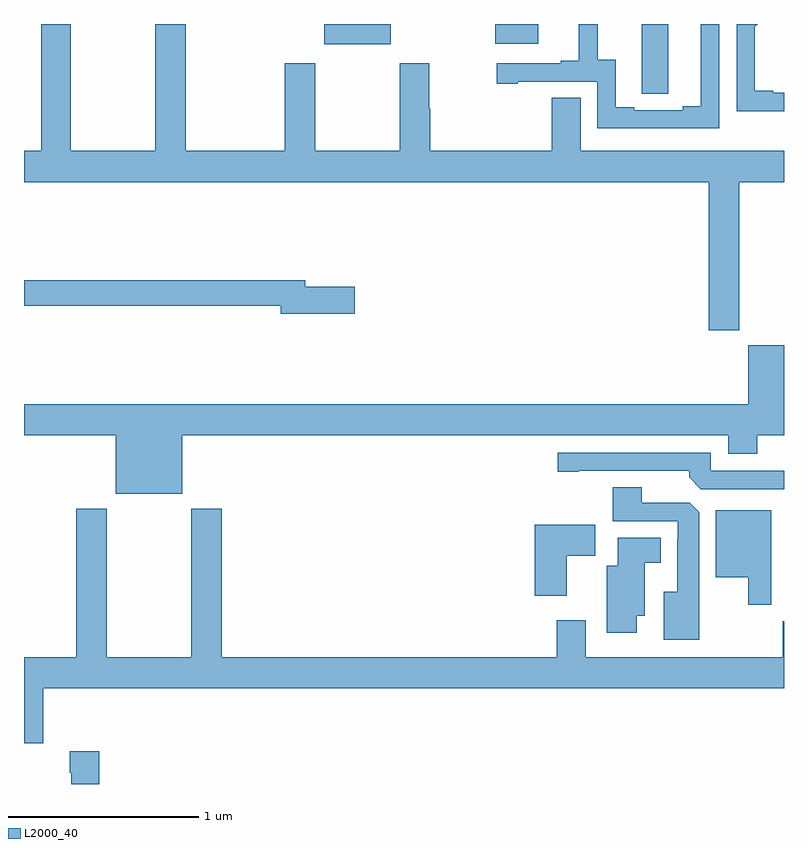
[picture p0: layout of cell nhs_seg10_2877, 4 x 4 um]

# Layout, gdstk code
import gdstk
lib = gdstk.Library(unit=1e-6, precision=1e-09)
def R(c, l, rs):  # rectangles x0, y0, x1, y1
    for r in rs: c.add(gdstk.rectangle(r[:2], r[2:], *l))
def P(c, l, *ps):  # polygons
    for p in ps: c.add(gdstk.Polygon(p, *l))
L2000_40 = (2000, 40)

nhs_seg10_2877 = lib.new_cell('nhs_seg10_2877')
R(nhs_seg10_2877, L2000_40, [(268.58,1282.394,268.93,1282.5), (269.48,1282.397,269.707,1282.5)])
P(nhs_seg10_2877, L2000_40, [(270.765,1281.668),(271,1281.668),(271,1281.832),(269.929,1281.832),(269.929,1282.112),(269.777,1282.112),(269.777,1281.832),(269.138,1281.832),(269.138,1282.055),(269.133,1282.055),(269.133,1282.294),(268.978,1282.294),(268.978,1281.832),(268.533,1281.832),(268.533,1282.294),(268.373,1282.294),(268.373,1281.832),(267.851,1281.832),(267.851,1282.5),(267.697,1282.5),(267.697,1282.499),(267.691,1282.499),(267.691,1281.832),(267.246,1281.832),(267.246,1282.499),(267.243,1282.499),(267.243,1282.5),(267.093,1282.5),(267.093,1282.499),(267.091,1282.499),(267.091,1281.832),(267,1281.832),(267,1281.668),(270.605,1281.668),(270.605,1280.889),(270.765,1280.889)],
  [(270.66,1282.5),(270.563,1282.5),(270.563,1282.067),(270.467,1282.067),(270.467,1282.047),(270.211,1282.047),(270.211,1282.062),(270.115,1282.062),(270.115,1282.313),(270.021,1282.313),(270.021,1282.5),(269.921,1282.5),(269.921,1282.306),(269.825,1282.306),(269.825,1282.293),(269.487,1282.293),(269.487,1282.185),(269.599,1282.185),(269.599,1282.197),(270.018,1282.197),(270.018,1281.951),(270.66,1281.951)],
  [(270.391,1282.5),(270.251,1282.5),(270.251,1282.24),(270.252,1282.24),(270.252,1282.132),(270.391,1282.132)],
  [(271,1282.137),(270.943,1282.137),(270.943,1282.15),(270.847,1282.15),(270.847,1282.486),(270.861,1282.5),(270.75,1282.5),(270.75,1282.04),(271,1282.04)],
  [(268.741,1281.116),(268.48,1281.116),(268.48,1281.152),(267,1281.152),(267,1281.016),(268.352,1281.016),(268.352,1280.974),(268.741,1280.974)],
  [(267.832,1280.336),(270.707,1280.336),(270.707,1280.237),(270.86,1280.237),(270.86,1280.336),(271,1280.336),(271,1280.809),(270.812,1280.809),(270.812,1280.5),(267,1280.5),(267,1280.336),(267.482,1280.336),(267.482,1280.027),(267.832,1280.027)],
  [(271,1280.148),(270.615,1280.148),(270.615,1280.244),(269.808,1280.244),(269.808,1280.143),(269.92,1280.143),(269.92,1280.148),(270.5,1280.148),(270.5,1280.114),(270.561,1280.052),(271,1280.052)],
  [(270.553,1279.931),(270.504,1279.98),(270.25,1279.98),(270.25,1280.063),(270.098,1280.063),(270.098,1279.884),(270.441,1279.884),(270.441,1279.787),(270.437,1279.787),(270.437,1279.513),(270.368,1279.513),(270.368,1279.259),(270.553,1279.259)],
  [(267.101,1279.004),(271,1279.004),(271,1279.357),(270.994,1279.357),(270.994,1279.168),(269.956,1279.168),(269.956,1279.363),(269.804,1279.363),(269.804,1279.168),(268.04,1279.168),(268.04,1279.948),(267.88,1279.948),(267.88,1279.168),(267.435,1279.168),(267.435,1279.948),(267.275,1279.948),(267.275,1279.168),(267,1279.168),(267,1278.714),(267.101,1278.714)],
  [(270.934,1279.942),(270.641,1279.942),(270.641,1279.589),(270.812,1279.589),(270.812,1279.443),(270.934,1279.443)],
  [(269.857,1279.702),(270.007,1279.702),(270.007,1279.864),(269.687,1279.864),(269.687,1279.491),(269.857,1279.491)],
  [(270.226,1279.385),(270.268,1279.385),(270.268,1279.664),(270.352,1279.664),(270.352,1279.795),(270.125,1279.795),(270.125,1279.648),(270.068,1279.648),(270.068,1279.296),(270.226,1279.296)],
  [(267.395,1278.673),(267.241,1278.673),(267.241,1278.56),(267.248,1278.56),(267.248,1278.5),(267.395,1278.5)])

lib.write_gds('nhs_seg10_2877.gds')
